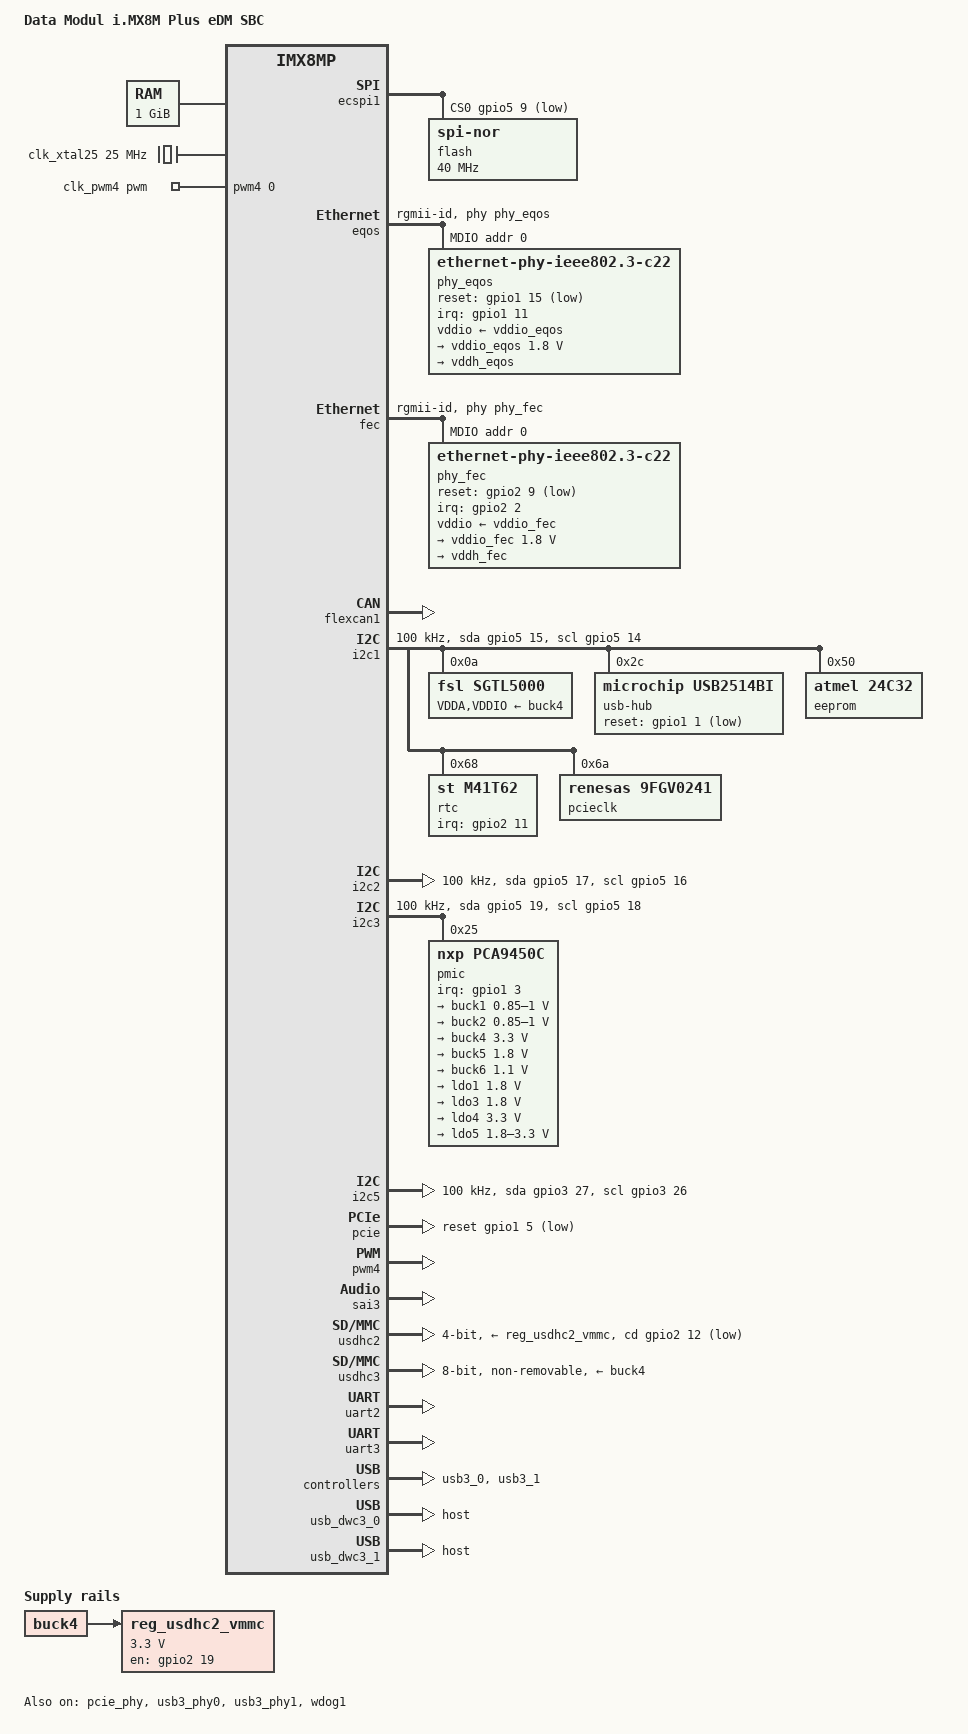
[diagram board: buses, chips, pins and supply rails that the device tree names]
// SPDX-License-Identifier: (GPL-2.0+ OR MIT)
/*
 * Copyright (C) 2022 Marek Vasut <marex@denx.de>
 */

/dts-v1/;

#include <dt-bindings/net/qca-ar803x.h>
#include <dt-bindings/phy/phy-imx8-pcie.h>
#include "imx8mp.dtsi"

/ {
	model = "Data Modul i.MX8M Plus eDM SBC";
	compatible = "dmo,imx8mp-data-modul-edm-sbc", "fsl,imx8mp";

	aliases {
		rtc0 = &rtc;
		rtc1 = &snvs_rtc;
	};

	chosen {
		stdout-path = &uart3;
	};

	memory@40000000 {
		device_type = "memory";
		/* There are 1/2/4 GiB options, adjusted by bootloader. */
		reg = <0x0 0x40000000 0 0x40000000>;
	};

	backlight: backlight {
		compatible = "pwm-backlight";
		pinctrl-names = "default";
		pinctrl-0 = <&pinctrl_panel_backlight>;
		brightness-levels = <0 1 10 20 30 40 50 60 70 75 80 90 100>;
		default-brightness-level = <7>;
		enable-gpios = <&gpio3 0 GPIO_ACTIVE_HIGH>;
		pwms = <&pwm1 0 5000000 0>;
		/* Disabled by default, unless display board plugged in. */
		status = "disabled";
	};

	clk_xtal25: clock-xtal25 {
		compatible = "fixed-clock";
		#clock-cells = <0>;
		clock-frequency = <25000000>;
	};

	clk_pwm4: clock-pwm4 {
		compatible = "pwm-clock";
		#clock-cells = <0>;
		clock-frequency = <12000000>;
		clock-output-names = "codec-pwm4";
		/*
		 * 1 / 83 ns ~= 12 MHz , but since the PWM input clock is 24 MHz
		 * and the calculated PWM period is 1 and duty cycle is 50%, the
		 * result is exactly 12 MHz, which is fine for SGTL5000 MCLK.
		 */
		pwms = <&pwm4 0 83 0>;
	};

	panel: panel {
		/* Compatible string is filled in by panel board DT Overlay. */
		backlight = <&backlight>;
		power-supply = <&reg_panel_vcc>;
		/* Disabled by default, unless display board plugged in. */
		status = "disabled";
	};

	reg_panel_vcc: regulator-panel-vcc {
		compatible = "regulator-fixed";
		pinctrl-names = "default";
		pinctrl-0 = <&pinctrl_panel_vcc_reg>;
		regulator-min-microvolt = <5000000>;
		regulator-max-microvolt = <5000000>;
		regulator-name = "PANEL_VCC";
		/* GPIO flags are ignored, enable-active-high applies. */
		gpio = <&gpio3 6 GPIO_ACTIVE_HIGH>;
		enable-active-high;
		/* Disabled by default, unless display board plugged in. */
		status = "disabled";
	};

	reg_usdhc2_vmmc: regulator-usdhc2-vmmc {
		compatible = "regulator-fixed";
		pinctrl-names = "default";
		pinctrl-0 = <&pinctrl_usdhc2_vmmc>;
		regulator-max-microvolt = <3300000>;
		regulator-min-microvolt = <3300000>;
		regulator-name = "VDD_3V3_SD";
		/* GPIO flags are ignored, enable-active-high applies. */
		gpio = <&gpio2 19 GPIO_ACTIVE_HIGH>; /* SD2_RESET */
		enable-active-high;
		off-on-delay-us = <12000>;
		startup-delay-us = <100>;
		vin-supply = <&buck4>;
	};

	sound {
		compatible = "simple-audio-card";
		simple-audio-card,name = "SGTL5000-Card";
		simple-audio-card,format = "i2s";
		simple-audio-card,bitclock-master = <&codec_dai>;
		simple-audio-card,frame-master = <&codec_dai>;
		simple-audio-card,widgets = "Headphone", "Headphone Jack";
		simple-audio-card,routing = "Headphone Jack", "HP_OUT";

		cpu_dai: simple-audio-card,cpu {
			sound-dai = <&sai3>;
		};

		codec_dai: simple-audio-card,codec {
			sound-dai = <&sgtl5000>;
		};
	};

	watchdog { /* TPS3813 */
		compatible = "linux,wdt-gpio";
		pinctrl-names = "default";
		pinctrl-0 = <&pinctrl_watchdog_gpio>;
		always-running;
		gpios = <&gpio2 8 GPIO_ACTIVE_HIGH>;
		hw_algo = "level";
		/* Reset triggers in 2..3 seconds */
		hw_margin_ms = <1500>;
		/* Disabled by default */
		status = "disabled";
	};
};

&A53_0 {
	cpu-supply = <&buck2>;
};

&A53_1 {
	cpu-supply = <&buck2>;
};

&A53_2 {
	cpu-supply = <&buck2>;
};

&A53_3 {
	cpu-supply = <&buck2>;
};

&ecspi1 {
	pinctrl-names = "default";
	pinctrl-0 = <&pinctrl_ecspi1>;
	cs-gpios = <&gpio5 9 GPIO_ACTIVE_LOW>;
	status = "okay";

	flash@0 {	/* W25Q128JVEI */
		compatible = "jedec,spi-nor";
		reg = <0>;
		spi-max-frequency = <40000000>;
		spi-tx-bus-width = <1>;
		spi-rx-bus-width = <1>;
	};
};

&ecspi2 {	/* Feature connector SPI */
	pinctrl-names = "default";
	pinctrl-0 = <&pinctrl_ecspi2>;
	cs-gpios = <&gpio5 13 GPIO_ACTIVE_LOW>;
	/* Disabled by default, unless feature board plugged in. */
	status = "disabled";
};

&ecspi3 {	/* Display connector SPI */
	pinctrl-names = "default";
	pinctrl-0 = <&pinctrl_ecspi3>;
	cs-gpios = <&gpio5 25 GPIO_ACTIVE_LOW>;
	/* Disabled by default, unless display board plugged in. */
	status = "disabled";
};

&eqos {	/* First ethernet */
	pinctrl-names = "default";
	pinctrl-0 = <&pinctrl_eqos>;
	phy-handle = <&phy_eqos>;
	phy-mode = "rgmii-id";
	status = "okay";

	mdio {
		compatible = "snps,dwmac-mdio";
		#address-cells = <1>;
		#size-cells = <0>;

		/* Atheros AR8031 PHY */
		phy_eqos: ethernet-phy@0 {
			compatible = "ethernet-phy-ieee802.3-c22";
			reg = <0>;
			/*
			 * Dedicated ENET_WOL# signal is unused, the PHY
			 * can wake the SoC up via INT signal as well.
			 */
			interrupts-extended = <&gpio1 11 IRQ_TYPE_LEVEL_LOW>;
			reset-gpios = <&gpio1 15 GPIO_ACTIVE_LOW>;
			reset-assert-us = <10000>;
			reset-deassert-us = <10000>;
			qca,keep-pll-enabled;
			vddio-supply = <&vddio_eqos>;

			vddio_eqos: vddio-regulator {
				regulator-name = "VDDIO_EQOS";
				regulator-min-microvolt = <1800000>;
				regulator-max-microvolt = <1800000>;
			};

			vddh_eqos: vddh-regulator {
				regulator-name = "VDDH_EQOS";
			};
		};
	};
};

&fec {	/* Second ethernet */
	pinctrl-names = "default";
	pinctrl-0 = <&pinctrl_fec>;
	phy-handle = <&phy_fec>;
	phy-mode = "rgmii-id";
	fsl,magic-packet;
	status = "okay";

	mdio {
		#address-cells = <1>;
		#size-cells = <0>;

		/* Atheros AR8031 PHY */
		phy_fec: ethernet-phy@0 {
			compatible = "ethernet-phy-ieee802.3-c22";
			reg = <0>;
			/*
			 * Dedicated ENET_WOL# signal is unused, the PHY
			 * can wake the SoC up via INT signal as well.
			 */
			interrupts-extended = <&gpio2 2 IRQ_TYPE_LEVEL_LOW>;
			reset-gpios = <&gpio2 9 GPIO_ACTIVE_LOW>;
			reset-assert-us = <10000>;
			reset-deassert-us = <10000>;
			qca,keep-pll-enabled;
			vddio-supply = <&vddio_fec>;

			vddio_fec: vddio-regulator {
				regulator-name = "VDDIO_FEC";
				regulator-min-microvolt = <1800000>;
				regulator-max-microvolt = <1800000>;
			};

			vddh_fec: vddh-regulator {
				regulator-name = "VDDH_FEC";
			};
		};
	};
};

&flexcan1 {
	pinctrl-names = "default";
	pinctrl-0 = <&pinctrl_flexcan1>;
	status = "okay";
};

&gpio1 {
	gpio-line-names =
		"", "USBHUB_RESET#", "WDOG_B#", "PMIC_INT#",
		"", "M2_PCIE_RST#", "M2_PCIE_WAKE#", "GPIO5_IO03",
		"GPIO5_IO04", "PDM_SEL", "ENET_WOL#", "ENET_INT#",
		"", "", "", "ENET_RST#",
		"", "", "", "", "", "", "", "",
		"", "", "", "", "", "", "", "";
};

&gpio2 {
	gpio-line-names =
		"", "", "ENET2_INT#", "", "", "", "", "",
		"WDOG_KICK#", "ENET2_RST#", "CAN_INT#", "RTC_IRQ#",
		"", "", "", "",
		"", "", "", "SD2_RESET#", "", "", "", "",
		"", "", "", "", "", "", "", "";
};

&gpio3 {
	gpio-line-names =
		"BL_ENABLE_1V8", "PG_V_IN_VAR#", "", "",
		"", "", "TFT_ENABLE_1V8", "GRAPHICS_GPIO0_1V8",
		"CSI2_PD_1V8", "CSI2_RESET_1V8#", "", "",
		"", "", "EEPROM_WP_1V8#", "", "", "", "", "",
		"MEMCFG0", "PCIE_CLK_GEN_CLKPWRGD_PD_1V8#",
		"", "M2_W_DISABLE1_1V8#",
		"M2_W_DISABLE2_1V8#", "", "I2C5_SCL_3V3", "I2C5_SDA_3V3",
		"", "", "", "";
};

&gpio4 {
	gpio-line-names =
		"DSI_RESET_1V8#", "MEMCFG2", "", "MEMCFG1", "", "", "", "",
		"", "", "", "", "", "", "", "",
		"", "", "GRAPHICS_PRSNT_1V8#", "DSI_IRQ_1V8#",
		"", "DIS_USB_DN1", "DIS_USB_DN2", "",
		"", "", "", "", "", "", "", "";
};

&gpio5 {
	gpio-line-names =
		"", "", "", "", "", "WDOG_EN", "", "",
		"", "SPI1_CS#", "", "",
		"", "SPI2_CS#", "I2C1_SCL_3V3", "I2C1_SDA_3V3",
		"I2C2_SCL_3V3", "I2C2_SDA_3V3", "I2C3_SCL_3V3", "I2C3_SDA_3V3",
		"", "", "", "",
		"", "SPI3_CS#", "", "", "", "", "", "";
};

&i2c1 {
	clock-frequency = <100000>;
	pinctrl-names = "default", "gpio";
	pinctrl-0 = <&pinctrl_i2c1>;
	pinctrl-1 = <&pinctrl_i2c1_gpio>;
	scl-gpios = <&gpio5 14 (GPIO_ACTIVE_HIGH | GPIO_OPEN_DRAIN)>;
	sda-gpios = <&gpio5 15 (GPIO_ACTIVE_HIGH | GPIO_OPEN_DRAIN)>;
	status = "okay";

	sgtl5000: audio-codec@a {
		compatible = "fsl,sgtl5000";
		reg = <0x0a>;
		#sound-dai-cells = <0>;
		clocks = <&clk_pwm4>;
		VDDA-supply = <&buck4>;
		VDDIO-supply = <&buck4>;
	};

	usb-hub@2c {
		compatible = "microchip,usb2514bi";
		reg = <0x2c>;
		pinctrl-names = "default";
		pinctrl-0 = <&pinctrl_usb_hub>;
		individual-port-switching;
		reset-gpios = <&gpio1 1 GPIO_ACTIVE_LOW>;
		self-powered;
	};

	eeprom: eeprom@50 {
		compatible = "atmel,24c32";
		reg = <0x50>;
		pagesize = <32>;
	};

	rtc: rtc@68 {
		compatible = "st,m41t62";
		reg = <0x68>;
		pinctrl-names = "default";
		pinctrl-0 = <&pinctrl_rtc>;
		interrupts-extended = <&gpio2 11 IRQ_TYPE_LEVEL_LOW>;
	};

	pcieclk: clk@6a {
		compatible = "renesas,9fgv0241";
		reg = <0x6a>;
		clocks = <&clk_xtal25>;
		#clock-cells = <1>;
	};
};

&i2c2 {
	clock-frequency = <100000>;
	pinctrl-names = "default", "gpio";
	pinctrl-0 = <&pinctrl_i2c2>;
	pinctrl-1 = <&pinctrl_i2c2_gpio>;
	scl-gpios = <&gpio5 16 (GPIO_ACTIVE_HIGH | GPIO_OPEN_DRAIN)>;
	sda-gpios = <&gpio5 17 (GPIO_ACTIVE_HIGH | GPIO_OPEN_DRAIN)>;
	status = "okay";
};

&i2c3 {
	clock-frequency = <100000>;
	pinctrl-names = "default", "gpio";
	pinctrl-0 = <&pinctrl_i2c3>;
	pinctrl-1 = <&pinctrl_i2c3_gpio>;
	scl-gpios = <&gpio5 18 (GPIO_ACTIVE_HIGH | GPIO_OPEN_DRAIN)>;
	sda-gpios = <&gpio5 19 (GPIO_ACTIVE_HIGH | GPIO_OPEN_DRAIN)>;
	status = "okay";

	pmic: pmic@25 {
		compatible = "nxp,pca9450c";
		reg = <0x25>;
		pinctrl-names = "default";
		pinctrl-0 = <&pinctrl_pmic>;
		interrupt-parent = <&gpio1>;
		interrupts = <3 IRQ_TYPE_LEVEL_LOW>;

		/*
		 * i.MX 8M Plus Data Sheet for Consumer Products
		 * 3.1.4 Operating ranges
		 * MIMX8ML8CVNKZAB
		 */
		regulators {
			buck1: BUCK1 {	/* VDD_SOC (dual-phase with BUCK3) */
				regulator-min-microvolt = <850000>;
				regulator-max-microvolt = <1000000>;
				regulator-ramp-delay = <3125>;
				regulator-always-on;
				regulator-boot-on;
			};

			buck2: BUCK2 {	/* VDD_ARM */
				nxp,dvs-run-voltage = <950000>;
				nxp,dvs-standby-voltage = <850000>;
				regulator-min-microvolt = <850000>;
				regulator-max-microvolt = <1000000>;
				regulator-ramp-delay = <3125>;
				regulator-always-on;
				regulator-boot-on;
			};

			buck4: BUCK4 {	/* VDD_3V3 */
				regulator-min-microvolt = <3300000>;
				regulator-max-microvolt = <3300000>;
				regulator-always-on;
				regulator-boot-on;
			};

			buck5: BUCK5 {	/* VDD_1V8 */
				regulator-min-microvolt = <1800000>;
				regulator-max-microvolt = <1800000>;
				regulator-always-on;
				regulator-boot-on;
			};

			buck6: BUCK6 {	/* NVCC_DRAM_1V1 */
				regulator-min-microvolt = <1100000>;
				regulator-max-microvolt = <1100000>;
				regulator-always-on;
				regulator-boot-on;
			};

			ldo1: LDO1 {	/* NVCC_SNVS_1V8 */
				regulator-min-microvolt = <1800000>;
				regulator-max-microvolt = <1800000>;
				regulator-always-on;
				regulator-boot-on;
			};

			ldo3: LDO3 {	/* VDDA_1V8 */
				regulator-min-microvolt = <1800000>;
				regulator-max-microvolt = <1800000>;
				regulator-always-on;
				regulator-boot-on;
			};

			ldo4: LDO4 {	/* PMIC_LDO4 */
				regulator-min-microvolt = <3300000>;
				regulator-max-microvolt = <3300000>;
			};

			ldo5: LDO5 {	/* NVCC_SD2 */
				regulator-min-microvolt = <1800000>;
				regulator-max-microvolt = <3300000>;
			};
		};
	};
};

&i2c5 {	/* HDMI EDID bus */
	clock-frequency = <100000>;
	pinctrl-names = "default", "gpio";
	pinctrl-0 = <&pinctrl_i2c5>;
	pinctrl-1 = <&pinctrl_i2c5_gpio>;
	scl-gpios = <&gpio3 26 (GPIO_ACTIVE_HIGH | GPIO_OPEN_DRAIN)>;
	sda-gpios = <&gpio3 27 (GPIO_ACTIVE_HIGH | GPIO_OPEN_DRAIN)>;
	status = "okay";
};

&pcie_phy {
	clocks = <&pcieclk 0>;
	clock-names = "ref";
	fsl,refclk-pad-mode = <IMX8_PCIE_REFCLK_PAD_INPUT>;
	status = "okay";
};

&pcie {
	pinctrl-names = "default";
	pinctrl-0 = <&pinctrl_pcie0>;
	fsl,max-link-speed = <3>;
	reset-gpio = <&gpio1 5 GPIO_ACTIVE_LOW>;
	status = "okay";
};

&pwm1 {
	pinctrl-names = "default";
	pinctrl-0 = <&pinctrl_panel_pwm>;
	/* Disabled by default, unless display board plugged in. */
	status = "disabled";
};

&pwm4 {
	pinctrl-names = "default";
	pinctrl-0 = <&pinctrl_pwm4>;
	status = "okay";
};

&sai3 {
	#clock-cells = <0>;
	#sound-dai-cells = <0>;
	assigned-clocks = <&clk IMX8MP_CLK_SAI3>;
	assigned-clock-parents = <&clk IMX8MP_AUDIO_PLL1_OUT>;
	assigned-clock-rates = <12288000>;
	pinctrl-names = "default";
	pinctrl-0 = <&pinctrl_sai3>;
	status = "okay";
};

/* SD slot */
&usdhc2 {
	pinctrl-names = "default", "state_100mhz", "state_200mhz";
	pinctrl-0 = <&pinctrl_usdhc2>, <&pinctrl_usdhc2_gpio>;
	pinctrl-1 = <&pinctrl_usdhc2_100mhz>, <&pinctrl_usdhc2_gpio>;
	pinctrl-2 = <&pinctrl_usdhc2_200mhz>, <&pinctrl_usdhc2_gpio>;
	cd-gpios = <&gpio2 12 GPIO_ACTIVE_LOW>;
	vmmc-supply = <&reg_usdhc2_vmmc>;
	bus-width = <4>;
	status = "okay";
};

/* eMMC */
&usdhc3 {
	pinctrl-names = "default", "state_100mhz", "state_200mhz";
	pinctrl-0 = <&pinctrl_usdhc3>;
	pinctrl-1 = <&pinctrl_usdhc3_100mhz>;
	pinctrl-2 = <&pinctrl_usdhc3_200mhz>;
	vmmc-supply = <&buck4>;
	vqmmc-supply = <&buck5>;
	bus-width = <8>;
	no-sd;
	no-sdio;
	non-removable;
	status = "okay";
};

&uart1 {	/* RS485 */
	pinctrl-names = "default";
	pinctrl-0 = <&pinctrl_uart1>;
	uart-has-rtscts;
	status = "disabled";	/* Optional */
};

&uart2 {
	pinctrl-names = "default";
	pinctrl-0 = <&pinctrl_uart2>;
	uart-has-rtscts;
	status = "okay";
};

&uart3 {	/* A53 Debug */
	pinctrl-names = "default";
	pinctrl-0 = <&pinctrl_uart3>;
	status = "okay";
};

&uart4 {
	pinctrl-names = "default";
	pinctrl-0 = <&pinctrl_uart4>;
	status = "disabled";
};

&usb3_phy0 {
	status = "okay";
};

&usb3_0 {
	fsl,over-current-active-low;
	status = "okay";
};

&usb_dwc3_0 {	/* Lower plug direct */
	pinctrl-names = "default";
	pinctrl-0 = <&pinctrl_usb1>;
	dr_mode = "host";
	status = "okay";
};

&usb3_phy1 {
	status = "okay";
};

&usb3_1 {
	status = "okay";
};

&usb_dwc3_1 {	/* Upper plug via HUB */
	dr_mode = "host";
	status = "okay";
};

&wdog1 {
	status = "okay";
};

/* IOMUXC node should be at the end of DT to improve readability. */
&iomuxc {
	pinctrl-names = "default";
	pinctrl-0 = <&pinctrl_hog_feature>, <&pinctrl_hog_misc>,
		    <&pinctrl_hog_panel>, <&pinctrl_hog_sbc>,
		    <&pinctrl_panel_expansion>;

	pinctrl_ecspi1: ecspi1-grp {
		fsl,pins = <
			MX8MP_IOMUXC_ECSPI1_SCLK__ECSPI1_SCLK		0x44
			MX8MP_IOMUXC_ECSPI1_MOSI__ECSPI1_MOSI		0x44
			MX8MP_IOMUXC_ECSPI1_MISO__ECSPI1_MISO		0x44
			MX8MP_IOMUXC_ECSPI1_SS0__GPIO5_IO09		0x40
		>;
	};

	pinctrl_ecspi2: ecspi2-grp {
		fsl,pins = <
			MX8MP_IOMUXC_ECSPI2_SCLK__ECSPI2_SCLK		0x44
			MX8MP_IOMUXC_ECSPI2_MOSI__ECSPI2_MOSI		0x44
			MX8MP_IOMUXC_ECSPI2_MISO__ECSPI2_MISO		0x44
			MX8MP_IOMUXC_ECSPI2_SS0__GPIO5_IO13		0x40
		>;
	};

	pinctrl_ecspi3: ecspi3-grp {
		fsl,pins = <
			MX8MP_IOMUXC_UART1_RXD__ECSPI3_SCLK		0x44
			MX8MP_IOMUXC_UART1_TXD__ECSPI3_MOSI		0x44
			MX8MP_IOMUXC_UART2_RXD__ECSPI3_MISO		0x44
			MX8MP_IOMUXC_UART2_TXD__GPIO5_IO25		0x40
		>;
	};

	pinctrl_eqos: eqos-grp {
		fsl,pins = <
			MX8MP_IOMUXC_ENET_MDC__ENET_QOS_MDC		0x3
			MX8MP_IOMUXC_ENET_MDIO__ENET_QOS_MDIO		0x3
			MX8MP_IOMUXC_ENET_TX_CTL__ENET_QOS_RGMII_TX_CTL	0x1f
			MX8MP_IOMUXC_ENET_TXC__CCM_ENET_QOS_CLOCK_GENERATE_TX_CLK	0x1f
			MX8MP_IOMUXC_ENET_TD0__ENET_QOS_RGMII_TD0	0x1f
			MX8MP_IOMUXC_ENET_TD1__ENET_QOS_RGMII_TD1	0x1f
			MX8MP_IOMUXC_ENET_TD2__ENET_QOS_RGMII_TD2	0x1f
			MX8MP_IOMUXC_ENET_TD3__ENET_QOS_RGMII_TD3	0x1f
			MX8MP_IOMUXC_ENET_RXC__CCM_ENET_QOS_CLOCK_GENERATE_RX_CLK	0x91
			MX8MP_IOMUXC_ENET_RX_CTL__ENET_QOS_RGMII_RX_CTL	0x91
			MX8MP_IOMUXC_ENET_RD0__ENET_QOS_RGMII_RD0	0x91
			MX8MP_IOMUXC_ENET_RD1__ENET_QOS_RGMII_RD1	0x91
			MX8MP_IOMUXC_ENET_RD2__ENET_QOS_RGMII_RD2	0x91
			MX8MP_IOMUXC_ENET_RD3__ENET_QOS_RGMII_RD3	0x91
			/* ENET_RST# */
			MX8MP_IOMUXC_GPIO1_IO15__GPIO1_IO15		0x6
			/* ENET_INT# */
			MX8MP_IOMUXC_GPIO1_IO11__GPIO1_IO11		0x40000090
		>;
	};

	pinctrl_fec: fec-grp {
		fsl,pins = <
			MX8MP_IOMUXC_SAI1_RXD2__ENET1_MDC		0x3
			MX8MP_IOMUXC_SAI1_RXD3__ENET1_MDIO		0x3
			MX8MP_IOMUXC_SAI1_RXD4__ENET1_RGMII_RD0		0x91
			MX8MP_IOMUXC_SAI1_RXD5__ENET1_RGMII_RD1		0x91
			MX8MP_IOMUXC_SAI1_RXD6__ENET1_RGMII_RD2		0x91
			MX8MP_IOMUXC_SAI1_RXD7__ENET1_RGMII_RD3		0x91
			MX8MP_IOMUXC_SAI1_TXC__ENET1_RGMII_RXC		0x91
			MX8MP_IOMUXC_SAI1_TXFS__ENET1_RGMII_RX_CTL	0x91
			MX8MP_IOMUXC_SAI1_TXD0__ENET1_RGMII_TD0		0x1f
			MX8MP_IOMUXC_SAI1_TXD1__ENET1_RGMII_TD1		0x1f
			MX8MP_IOMUXC_SAI1_TXD2__ENET1_RGMII_TD2		0x1f
			MX8MP_IOMUXC_SAI1_TXD3__ENET1_RGMII_TD3		0x1f
			MX8MP_IOMUXC_SAI1_TXD4__ENET1_RGMII_TX_CTL	0x1f
			MX8MP_IOMUXC_SAI1_TXD5__ENET1_RGMII_TXC		0x1f
			/* ENET2_RST# */
			MX8MP_IOMUXC_SD1_DATA7__GPIO2_IO09		0x6
			/* ENET2_INT# */
			MX8MP_IOMUXC_SD1_DATA0__GPIO2_IO02		0x40000090
		>;
	};

	pinctrl_flexcan1: flexcan1-grp {
		fsl,pins = <
			MX8MP_IOMUXC_SPDIF_RX__CAN1_RX			0x154
			MX8MP_IOMUXC_SPDIF_TX__CAN1_TX			0x154
		>;
	};

	pinctrl_hog_feature: hog-feature-grp {
		fsl,pins = <
			/* GPIO5_IO03 */
			MX8MP_IOMUXC_GPIO1_IO07__GPIO1_IO07		0x40000006
			/* GPIO5_IO04 */
			MX8MP_IOMUXC_GPIO1_IO08__GPIO1_IO08		0x40000006

			/* CAN_INT# */
			MX8MP_IOMUXC_SD1_RESET_B__GPIO2_IO10		0x40000090
		>;
	};

	pinctrl_hog_panel: hog-panel-grp {
		fsl,pins = <
			/* GRAPHICS_GPIO0_1V8 */
			MX8MP_IOMUXC_NAND_DATA01__GPIO3_IO07		0x26
		>;
	};

	pinctrl_hog_misc: hog-misc-grp {
		fsl,pins = <
			/* ENET_WOL# -- shared by both PHYs */
			MX8MP_IOMUXC_GPIO1_IO10__GPIO1_IO10		0x40000090

			/* PG_V_IN_VAR# */
			MX8MP_IOMUXC_NAND_CE0_B__GPIO3_IO01		0x40000000
			/* CSI2_PD_1V8 */
			MX8MP_IOMUXC_NAND_DATA02__GPIO3_IO08		0x0
			/* CSI2_RESET_1V8# */
			MX8MP_IOMUXC_NAND_DATA03__GPIO3_IO09		0x0

			/* DIS_USB_DN1 */
			MX8MP_IOMUXC_SAI2_RXFS__GPIO4_IO21		0x0
			/* DIS_USB_DN2 */
			MX8MP_IOMUXC_SAI2_RXC__GPIO4_IO22		0x0

			/* EEPROM_WP_1V8# */
			MX8MP_IOMUXC_NAND_DQS__GPIO3_IO14		0x100
			/* PCIE_CLK_GEN_CLKPWRGD_PD_1V8# */
			MX8MP_IOMUXC_SAI5_RXD0__GPIO3_IO21		0x0
			/* GRAPHICS_PRSNT_1V8# */
			MX8MP_IOMUXC_SAI1_TXD6__GPIO4_IO18		0x40000000

			/* CLK_CCM_CLKO1_3V3 */
			MX8MP_IOMUXC_GPIO1_IO14__CCM_CLKO1		0x10
		>;
	};

	pinctrl_hog_sbc: hog-sbc-grp {
		fsl,pins = <
			/* MEMCFG[0..2] straps */
			MX8MP_IOMUXC_SAI5_RXC__GPIO3_IO20		0x40000140
			MX8MP_IOMUXC_SAI1_RXD1__GPIO4_IO03		0x40000140
			MX8MP_IOMUXC_SAI1_RXC__GPIO4_IO01		0x40000140
		>;
	};

	pinctrl_i2c1: i2c1-grp {
		fsl,pins = <
			MX8MP_IOMUXC_I2C1_SCL__I2C1_SCL			0x40000084
			MX8MP_IOMUXC_I2C1_SDA__I2C1_SDA			0x40000084
		>;
	};

	pinctrl_i2c1_gpio: i2c1-gpio-grp {
		fsl,pins = <
			MX8MP_IOMUXC_I2C1_SCL__GPIO5_IO14		0x84
			MX8MP_IOMUXC_I2C1_SDA__GPIO5_IO15		0x84
		>;
	};

	pinctrl_i2c2: i2c2-grp {
		fsl,pins = <
			MX8MP_IOMUXC_I2C2_SCL__I2C2_SCL			0x40000084
			MX8MP_IOMUXC_I2C2_SDA__I2C2_SDA			0x40000084
		>;
	};

	pinctrl_i2c2_gpio: i2c2-gpio-grp {
		fsl,pins = <
			MX8MP_IOMUXC_I2C2_SCL__GPIO5_IO16		0x84
			MX8MP_IOMUXC_I2C2_SDA__GPIO5_IO17		0x84
		>;
	};

	pinctrl_i2c3: i2c3-grp {
		fsl,pins = <
			MX8MP_IOMUXC_I2C3_SCL__I2C3_SCL			0x40000084
			MX8MP_IOMUXC_I2C3_SDA__I2C3_SDA			0x40000084
		>;
	};

	pinctrl_i2c3_gpio: i2c3-gpio-grp {
		fsl,pins = <
			MX8MP_IOMUXC_I2C3_SCL__GPIO5_IO18		0x84
			MX8MP_IOMUXC_I2C3_SDA__GPIO5_IO19		0x84
		>;
	};

	pinctrl_i2c5: i2c5-grp {
		fsl,pins = <
			MX8MP_IOMUXC_HDMI_DDC_SCL__I2C5_SCL		0x40000084
			MX8MP_IOMUXC_HDMI_DDC_SDA__I2C5_SDA		0x40000084
		>;
	};

	pinctrl_i2c5_gpio: i2c5-gpio-grp {
		fsl,pins = <
			MX8MP_IOMUXC_HDMI_DDC_SCL__GPIO3_IO26		0x84
			MX8MP_IOMUXC_HDMI_DDC_SDA__GPIO3_IO27		0x84
		>;
	};

	pinctrl_panel_backlight: panel-backlight-grp {
		fsl,pins = <
			/* BL_ENABLE_1V8 */
			MX8MP_IOMUXC_NAND_ALE__GPIO3_IO00		0x104
		>;
	};

	pinctrl_panel_expansion: panel-expansion-grp {
		fsl,pins = <
			/* DSI_RESET_1V8# */
			MX8MP_IOMUXC_SAI1_RXFS__GPIO4_IO00		0x2
			/* DSI_IRQ_1V8# */
			MX8MP_IOMUXC_SAI1_TXD7__GPIO4_IO19		0x40000090
		>;
	};

	pinctrl_panel_pwm: panel-pwm-grp {
		fsl,pins = <
			/* BL_PWM_3V3 */
			MX8MP_IOMUXC_I2C4_SDA__PWM1_OUT			0x12
		>;
	};

	pinctrl_panel_vcc_reg: panel-vcc-grp {
		fsl,pins = <
			/* TFT_ENABLE_1V8 */
			MX8MP_IOMUXC_NAND_DATA00__GPIO3_IO06		0x104
		>;
	};

	pinctrl_pcie0: pcie-grp {
		fsl,pins = <
			/* M2_PCIE_RST# */
			MX8MP_IOMUXC_GPIO1_IO05__GPIO1_IO05		0x2
			/* M2_W_DISABLE1_1V8# */
			MX8MP_IOMUXC_SAI5_RXD2__GPIO3_IO23		0x2
			/* M2_W_DISABLE2_1V8# */
			MX8MP_IOMUXC_SAI5_RXD3__GPIO3_IO24		0x2
			/* CLK_M2_32K768 */
			MX8MP_IOMUXC_GPIO1_IO00__CCM_EXT_CLK1		0x14
			/* M2_PCIE_WAKE# */
			MX8MP_IOMUXC_GPIO1_IO06__GPIO1_IO06		0x40000140
			/* M2_PCIE_CLKREQ# */
			MX8MP_IOMUXC_I2C4_SCL__PCIE_CLKREQ_B		0x61
		>;
	};

	pinctrl_pdm: pdm-grp {
		fsl,pins = <
			/* PDM_SEL */
			MX8MP_IOMUXC_GPIO1_IO09__GPIO1_IO09		0x0
			MX8MP_IOMUXC_SAI3_RXC__AUDIOMIX_PDM_CLK		0x0
			MX8MP_IOMUXC_SAI3_RXFS__AUDIOMIX_PDM_BIT_STREAM00	0x0
		>;
	};

	pinctrl_pmic: pmic-grp {
		fsl,pins = <
			/* PMIC_nINT */
			MX8MP_IOMUXC_GPIO1_IO03__GPIO1_IO03		0x40000090
		>;
	};

	pinctrl_pwm4: pwm4-grp {
		fsl,pins = <
			MX8MP_IOMUXC_SAI3_MCLK__PWM4_OUT		0xd6
		>;
	};

	pinctrl_rtc: rtc-grp {
		fsl,pins = <
			/* RTC_IRQ# */
			MX8MP_IOMUXC_SD1_STROBE__GPIO2_IO11		0x40000090
		>;
	};

	pinctrl_sai1: sai1-grp {
		fsl,pins = <
			MX8MP_IOMUXC_SAI5_RXD1__AUDIOMIX_SAI1_TX_SYNC	0xd6
			MX8MP_IOMUXC_SAI5_RXFS__AUDIOMIX_SAI1_TX_DATA00	0xd6
			MX8MP_IOMUXC_SAI5_MCLK__AUDIOMIX_SAI1_TX_BCLK	0xd6
			MX8MP_IOMUXC_SAI1_MCLK__AUDIOMIX_SAI1_MCLK	0xd6
			MX8MP_IOMUXC_SAI1_RXD0__AUDIOMIX_SAI1_RX_DATA00	0xd6
		>;
	};

	pinctrl_sai2: sai2-grp {
		fsl,pins = <
			MX8MP_IOMUXC_SAI2_TXFS__AUDIOMIX_SAI2_TX_SYNC	0xd6
			MX8MP_IOMUXC_SAI2_TXD0__AUDIOMIX_SAI2_TX_DATA00	0xd6
			MX8MP_IOMUXC_SAI2_TXC__AUDIOMIX_SAI2_TX_BCLK	0xd6
			MX8MP_IOMUXC_SAI2_MCLK__AUDIOMIX_SAI2_MCLK	0xd6
		>;
	};

	pinctrl_sai3: sai3-grp {
		fsl,pins = <
			MX8MP_IOMUXC_SAI3_TXFS__AUDIOMIX_SAI3_TX_SYNC	0xd6
			MX8MP_IOMUXC_SAI3_TXD__AUDIOMIX_SAI3_TX_DATA00	0xd6
			MX8MP_IOMUXC_SAI3_TXC__AUDIOMIX_SAI3_TX_BCLK	0xd6
			MX8MP_IOMUXC_SAI3_RXD__AUDIOMIX_SAI3_RX_DATA00	0xd6
		>;
	};

	pinctrl_uart1: uart1-grp {
		fsl,pins = <
			MX8MP_IOMUXC_SD1_CLK__UART1_DCE_TX		0x49
			MX8MP_IOMUXC_SD1_CMD__UART1_DCE_RX		0x49
			MX8MP_IOMUXC_SD1_DATA1__UART1_DCE_CTS		0x49
			MX8MP_IOMUXC_SAI2_RXD0__UART1_DCE_RTS		0x49
		>;
	};

	pinctrl_uart2: uart2-grp {
		fsl,pins = <
			MX8MP_IOMUXC_SD1_DATA2__UART2_DCE_TX		0x49
			MX8MP_IOMUXC_SD1_DATA3__UART2_DCE_RX		0x49
			MX8MP_IOMUXC_SD1_DATA4__UART2_DCE_RTS		0x49
			MX8MP_IOMUXC_SD1_DATA5__UART2_DCE_CTS		0x49
		>;
	};

	pinctrl_uart3: uart3-grp {
		fsl,pins = <
			MX8MP_IOMUXC_UART3_RXD__UART3_DCE_RX		0x49
			MX8MP_IOMUXC_UART3_TXD__UART3_DCE_TX		0x49
		>;
	};

	pinctrl_uart4: uart4-grp {
		fsl,pins = <
			MX8MP_IOMUXC_UART4_RXD__UART4_DCE_RX		0x49
			MX8MP_IOMUXC_UART4_TXD__UART4_DCE_TX		0x49
		>;
	};

	pinctrl_usdhc2: usdhc2-grp {
		fsl,pins = <
			MX8MP_IOMUXC_SD2_CLK__USDHC2_CLK		0x190
			MX8MP_IOMUXC_SD2_CMD__USDHC2_CMD		0x1d0
			MX8MP_IOMUXC_SD2_DATA0__USDHC2_DATA0		0x1d0
			MX8MP_IOMUXC_SD2_DATA1__USDHC2_DATA1		0x1d0
			MX8MP_IOMUXC_SD2_DATA2__USDHC2_DATA2		0x1d0
			MX8MP_IOMUXC_SD2_DATA3__USDHC2_DATA3		0x1d0
			MX8MP_IOMUXC_GPIO1_IO04__USDHC2_VSELECT		0xc1
		>;
	};

	pinctrl_usdhc2_100mhz: usdhc2-100mhz-grp {
		fsl,pins = <
			MX8MP_IOMUXC_SD2_CLK__USDHC2_CLK		0x194
			MX8MP_IOMUXC_SD2_CMD__USDHC2_CMD		0x1d4
			MX8MP_IOMUXC_SD2_DATA0__USDHC2_DATA0		0x1d4
			MX8MP_IOMUXC_SD2_DATA1__USDHC2_DATA1		0x1d4
			MX8MP_IOMUXC_SD2_DATA2__USDHC2_DATA2		0x1d4
			MX8MP_IOMUXC_SD2_DATA3__USDHC2_DATA3		0x1d4
			MX8MP_IOMUXC_GPIO1_IO04__USDHC2_VSELECT		0xc1
		>;
	};

	pinctrl_usdhc2_200mhz: usdhc2-200mhz-grp {
		fsl,pins = <
			MX8MP_IOMUXC_SD2_CLK__USDHC2_CLK		0x196
			MX8MP_IOMUXC_SD2_CMD__USDHC2_CMD		0x1d6
			MX8MP_IOMUXC_SD2_DATA0__USDHC2_DATA0		0x1d6
			MX8MP_IOMUXC_SD2_DATA1__USDHC2_DATA1		0x1d6
			MX8MP_IOMUXC_SD2_DATA2__USDHC2_DATA2		0x1d6
			MX8MP_IOMUXC_SD2_DATA3__USDHC2_DATA3		0x1d6
			MX8MP_IOMUXC_GPIO1_IO04__USDHC2_VSELECT		0xc1
		>;
	};

	pinctrl_usdhc2_vmmc: usdhc2-vmmc-grp {
		fsl,pins = <
			MX8MP_IOMUXC_SD2_RESET_B__GPIO2_IO19		0x20
		>;
	};

	pinctrl_usdhc2_gpio: usdhc2-gpio-grp {
		fsl,pins = <
			MX8MP_IOMUXC_SD2_CD_B__GPIO2_IO12		0x40000080
		>;
	};

	pinctrl_usdhc3: usdhc3-grp {
		fsl,pins = <
			MX8MP_IOMUXC_NAND_WE_B__USDHC3_CLK		0x190
			MX8MP_IOMUXC_NAND_WP_B__USDHC3_CMD		0x1d0
			MX8MP_IOMUXC_NAND_DATA04__USDHC3_DATA0		0x1d0
			MX8MP_IOMUXC_NAND_DATA05__USDHC3_DATA1		0x1d0
			MX8MP_IOMUXC_NAND_DATA06__USDHC3_DATA2		0x1d0
			MX8MP_IOMUXC_NAND_DATA07__USDHC3_DATA3		0x1d0
			MX8MP_IOMUXC_NAND_RE_B__USDHC3_DATA4		0x1d0
			MX8MP_IOMUXC_NAND_CE2_B__USDHC3_DATA5		0x1d0
			MX8MP_IOMUXC_NAND_CE3_B__USDHC3_DATA6		0x1d0
			MX8MP_IOMUXC_NAND_CLE__USDHC3_DATA7		0x1d0
			MX8MP_IOMUXC_NAND_CE1_B__USDHC3_STROBE		0x190
			MX8MP_IOMUXC_NAND_READY_B__USDHC3_RESET_B	0x141
		>;
	};

	pinctrl_usdhc3_100mhz: usdhc3-100mhz-grp {
		fsl,pins = <
			MX8MP_IOMUXC_NAND_WE_B__USDHC3_CLK		0x194
			MX8MP_IOMUXC_NAND_WP_B__USDHC3_CMD		0x1d4
			MX8MP_IOMUXC_NAND_DATA04__USDHC3_DATA0		0x1d4
			MX8MP_IOMUXC_NAND_DATA05__USDHC3_DATA1		0x1d4
			MX8MP_IOMUXC_NAND_DATA06__USDHC3_DATA2		0x1d4
			MX8MP_IOMUXC_NAND_DATA07__USDHC3_DATA3		0x1d4
			MX8MP_IOMUXC_NAND_RE_B__USDHC3_DATA4		0x1d4
			MX8MP_IOMUXC_NAND_CE2_B__USDHC3_DATA5		0x1d4
			MX8MP_IOMUXC_NAND_CE3_B__USDHC3_DATA6		0x1d4
			MX8MP_IOMUXC_NAND_CLE__USDHC3_DATA7		0x1d4
			MX8MP_IOMUXC_NAND_CE1_B__USDHC3_STROBE		0x194
			MX8MP_IOMUXC_NAND_READY_B__USDHC3_RESET_B	0x141
		>;
	};

	pinctrl_usdhc3_200mhz: usdhc3-200mhz-grp {
		fsl,pins = <
			MX8MP_IOMUXC_NAND_WE_B__USDHC3_CLK		0x196
			MX8MP_IOMUXC_NAND_WP_B__USDHC3_CMD		0x1d6
			MX8MP_IOMUXC_NAND_DATA04__USDHC3_DATA0		0x1d6
			MX8MP_IOMUXC_NAND_DATA05__USDHC3_DATA1		0x1d6
			MX8MP_IOMUXC_NAND_DATA06__USDHC3_DATA2		0x1d6
			MX8MP_IOMUXC_NAND_DATA07__USDHC3_DATA3		0x1d6
			MX8MP_IOMUXC_NAND_RE_B__USDHC3_DATA4		0x1d6
			MX8MP_IOMUXC_NAND_CE2_B__USDHC3_DATA5		0x1d6
			MX8MP_IOMUXC_NAND_CE3_B__USDHC3_DATA6		0x1d6
			MX8MP_IOMUXC_NAND_CLE__USDHC3_DATA7		0x1d6
			MX8MP_IOMUXC_NAND_CE1_B__USDHC3_STROBE		0x196
			MX8MP_IOMUXC_NAND_READY_B__USDHC3_RESET_B	0x141
		>;
	};

	pinctrl_usb_hub: usb-hub-grp {
		fsl,pins = <
			/* USBHUB_RESET# */
			MX8MP_IOMUXC_GPIO1_IO01__GPIO1_IO01		0x4
		>;
	};

	pinctrl_usb1: usb1-grp {
		fsl,pins = <
			MX8MP_IOMUXC_GPIO1_IO12__USB1_OTG_PWR		0x6
			MX8MP_IOMUXC_GPIO1_IO13__USB1_OTG_OC		0x80
		>;
	};

	pinctrl_watchdog_gpio: watchdog-gpio-grp {
		fsl,pins = <
			/* WDOG_B# */
			MX8MP_IOMUXC_GPIO1_IO02__WDOG1_WDOG_B		0x26
			/* WDOG_EN -- ungate WDT RESET# signal propagation */
			MX8MP_IOMUXC_SPDIF_EXT_CLK__GPIO5_IO05		0x6
			/* WDOG_KICK# / WDI */
			MX8MP_IOMUXC_SD1_DATA6__GPIO2_IO08		0x26
		>;
	};
};
